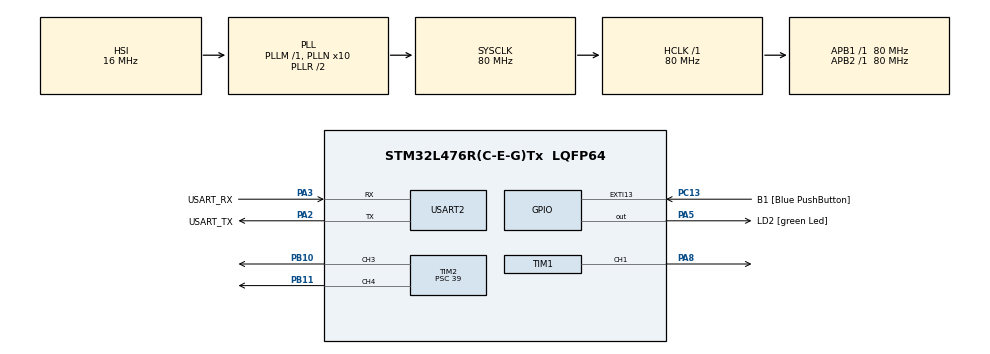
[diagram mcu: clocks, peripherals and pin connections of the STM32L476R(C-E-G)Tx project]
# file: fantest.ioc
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Mcu.Family=STM32L4
Mcu.Name=STM32L476R(C-E-G)Tx
Mcu.Package=LQFP64
NVIC.PriorityGroup=NVIC_PRIORITYGROUP_4
PA13\ (JTMS-SWDIO).GPIO_Label=TMS
PA13\ (JTMS-SWDIO).Mode=Serial_Wire
PA13\ (JTMS-SWDIO).Signal=SYS_JTMS-SWDIO
PA14\ (JTCK-SWCLK).GPIO_Label=TCK
PA14\ (JTCK-SWCLK).Mode=Serial_Wire
PA14\ (JTCK-SWCLK).Signal=SYS_JTCK-SWCLK
PA2.GPIO_Label=USART_TX
PA2.GPIO_Mode=GPIO_MODE_AF_PP
PA2.GPIO_PuPd=GPIO_NOPULL
PA2.GPIO_Speed=GPIO_SPEED_FREQ_VERY_HIGH
PA2.Mode=Asynchronous
PA2.Signal=USART2_TX
PA3.GPIO_Label=USART_RX
PA3.GPIO_Mode=GPIO_MODE_AF_PP
PA3.GPIO_PuPd=GPIO_NOPULL
PA3.GPIO_Speed=GPIO_SPEED_FREQ_VERY_HIGH
PA3.Mode=Asynchronous
PA3.Signal=USART2_RX
PA5.GPIO_Label=LD2 [green Led]
PA5.GPIO_ModeDefaultOutputPP=GPIO_MODE_OUTPUT_PP
PA5.GPIO_PuPd=GPIO_NOPULL
PA5.GPIO_Speed=GPIO_SPEED_FREQ_LOW
PA5.Signal=GPIO_Output
PA8.Signal=S_TIM1_CH1
PB10.Signal=S_TIM2_CH3
PB11.Signal=S_TIM2_CH4
PB3\ (JTDO-TRACESWO).GPIO_Label=SWO
PB3\ (JTDO-TRACESWO).Signal=SYS_JTDO-SWO
PC13.GPIO_Label=B1 [Blue PushButton]
PC13.GPIO_ModeDefaultEXTI=GPIO_MODE_IT_FALLING
PC13.GPIO_PuPd=GPIO_NOPULL
PC13.Signal=GPXTI13
PC14-OSC32_IN\ (PC14).Mode=LSE-External-Oscillator
PC14-OSC32_IN\ (PC14).Signal=RCC_OSC32_IN
PC15-OSC32_OUT\ (PC15).Mode=LSE-External-Oscillator
PC15-OSC32_OUT\ (PC15).Signal=RCC_OSC32_OUT
PH0-OSC_IN\ (PH0).Signal=RCC_OSC_IN
PH1-OSC_OUT\ (PH1).Signal=RCC_OSC_OUT
ProjectManager.HeapSize=0x200
ProjectManager.StackSize=0x400
ProjectManager.TargetToolchain=STM32CubeIDE
RCC.ADCFreq_Value=64000000
RCC.AHBFreq_Value=80000000
RCC.APB1Freq_Value=80000000
RCC.APB1TimFreq_Value=80000000
RCC.APB2Freq_Value=80000000
RCC.APB2TimFreq_Value=80000000
RCC.CortexFreq_Value=80000000
RCC.HCLKFreq_Value=80000000
RCC.HSE_VALUE=8000000
RCC.HSI_VALUE=16000000
RCC.MSI_VALUE=4000000
RCC.PLLN=10
RCC.PLLSourceVirtual=RCC_PLLSOURCE_HSI
RCC.PREFETCH_ENABLE=1
RCC.SYSCLKFreq_VALUE=80000000
RCC.SYSCLKSource=RCC_SYSCLKSOURCE_PLLCLK
RCC.USBFreq_Value=64000000
RCC.VCOOutputFreq_Value=160000000
SH.S_TIM1_CH1.0=TIM1_CH1,PWM Generation1 CH1
SH.S_TIM2_CH3.0=TIM2_CH3,PWM Generation3 CH3
SH.S_TIM2_CH4.0=TIM2_CH4,PWM Generation4 CH4
TIM1.Channel-PWM\ Generation1\ CH1=TIM_CHANNEL_1
TIM1.Period=100
TIM1.Prescaler=39
TIM2.Channel-PWM\ Generation3\ CH3=TIM_CHANNEL_3
TIM2.Channel-PWM\ Generation4\ CH4=TIM_CHANNEL_4
TIM2.Period=100
TIM2.Prescaler=39
USART2.VirtualMode-Asynchronous=VM_ASYNC
VP_TIM1_VS_ClockSourceINT.Mode=Internal
board=NUCLEO-L476RG

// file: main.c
/* USER CODE BEGIN Header */
/**
  ******************************************************************************
  * @file           : main.c
  * @brief          : Main program body
  ******************************************************************************
  * @attention
  *
  * Copyright (c) 2026 STMicroelectronics.
  * All rights reserved.
  *
  * This software is licensed under terms that can be found in the LICENSE file
  * in the root directory of this software component.
  * If no LICENSE file comes with this software, it is provided AS-IS.
  *
  ******************************************************************************
  */
/* USER CODE END Header */
#include "main.h"

TIM_HandleTypeDef htim1;
TIM_HandleTypeDef htim2;

UART_HandleTypeDef huart2;

void SystemClock_Config(void);
static void MX_GPIO_Init(void);
static void MX_USART2_UART_Init(void);
static void MX_TIM1_Init(void);
static void MX_TIM2_Init(void);

int main(void)
{

  /* MCU Configuration--------------------------------------------------------*/

  /* Reset of all peripherals, Initializes the Flash interface and the Systick. */
  HAL_Init();

  /* Configure the system clock */
  SystemClock_Config();

  /* Initialize all configured peripherals */
  MX_GPIO_Init();
  MX_USART2_UART_Init();
  MX_TIM1_Init();
  MX_TIM2_Init();
  /* USER CODE BEGIN 2 */

  int started = 0;
  HAL_TIM_PWM_Start(&htim2, TIM_CHANNEL_3);
  __HAL_TIM_SET_COMPARE(&htim2, TIM_CHANNEL_3, 50);  // TIM1->CCR1 = duty;

  HAL_TIM_PWM_Start(&htim2, TIM_CHANNEL_4);
  __HAL_TIM_SET_COMPARE(&htim2, TIM_CHANNEL_4, 30);  // TIM1->CCR1 = duty;

  HAL_Delay(500);
  __HAL_TIM_SET_COMPARE(&htim2, TIM_CHANNEL_4, 0);  // TIM1->CCR1 = duty;
/* USER CODE END 2 */

  /* Infinite loop */
  while (1)
  {

    /* USER CODE BEGIN 3 */
	  HAL_Delay(10000);

    if (started == 0) {
        __HAL_TIM_SET_COMPARE(&htim2, TIM_CHANNEL_3, 30);  // TIM1->CCR1 = duty;
        started = 1;
    }
    else if (started == 1) {
        __HAL_TIM_SET_COMPARE(&htim2, TIM_CHANNEL_3, 10);  // TIM1->CCR1 = duty;
        started = 2;
    } else if (started == 2) {
        __HAL_TIM_SET_COMPARE(&htim2, TIM_CHANNEL_3, 5);  // TIM1->CCR1 = duty;
        started = 3;
    }
    else if (started == 3) {
        __HAL_TIM_SET_COMPARE(&htim2, TIM_CHANNEL_3, 0);  // TIM1->CCR1 = duty;
        started = 4;
    }
    else if (started == 4) {
        __HAL_TIM_SET_COMPARE(&htim2, TIM_CHANNEL_4, 30);  // TIM1->CCR1 = duty;
        started = 5;
    } else if (started == 5) {
        __HAL_TIM_SET_COMPARE(&htim2, TIM_CHANNEL_4, 10);  // TIM1->CCR1 = duty;
        started = 6;
    }
    else if (started == 6) {
        __HAL_TIM_SET_COMPARE(&htim2, TIM_CHANNEL_4, 0);  // TIM1->CCR1 = duty;
        started = 7;
    }

  }
  /* USER CODE END 3 */
}

void SystemClock_Config(void)
{
  RCC_OscInitTypeDef RCC_OscInitStruct = {0};
  RCC_ClkInitTypeDef RCC_ClkInitStruct = {0};

  /** Configure the main internal regulator output voltage
  */
  if (HAL_PWREx_ControlVoltageScaling(PWR_REGULATOR_VOLTAGE_SCALE1) != HAL_OK)
  {
    Error_Handler();
  }

  /** Initializes the RCC Oscillators according to the specified parameters
  * in the RCC_OscInitTypeDef structure.
  */
  RCC_OscInitStruct.OscillatorType = RCC_OSCILLATORTYPE_HSI;
  RCC_OscInitStruct.HSIState = RCC_HSI_ON;
  RCC_OscInitStruct.HSICalibrationValue = RCC_HSICALIBRATION_DEFAULT;
  RCC_OscInitStruct.PLL.PLLState = RCC_PLL_ON;
  RCC_OscInitStruct.PLL.PLLSource = RCC_PLLSOURCE_HSI;
  RCC_OscInitStruct.PLL.PLLM = 1;
  RCC_OscInitStruct.PLL.PLLN = 10;
  RCC_OscInitStruct.PLL.PLLP = RCC_PLLP_DIV7;
  RCC_OscInitStruct.PLL.PLLQ = RCC_PLLQ_DIV2;
  RCC_OscInitStruct.PLL.PLLR = RCC_PLLR_DIV2;
  if (HAL_RCC_OscConfig(&RCC_OscInitStruct) != HAL_OK)
  {
    Error_Handler();
  }

  /** Initializes the CPU, AHB and APB buses clocks
  */
  RCC_ClkInitStruct.ClockType = RCC_CLOCKTYPE_HCLK|RCC_CLOCKTYPE_SYSCLK
                              |RCC_CLOCKTYPE_PCLK1|RCC_CLOCKTYPE_PCLK2;
  RCC_ClkInitStruct.SYSCLKSource = RCC_SYSCLKSOURCE_PLLCLK;
  RCC_ClkInitStruct.AHBCLKDivider = RCC_SYSCLK_DIV1;
  RCC_ClkInitStruct.APB1CLKDivider = RCC_HCLK_DIV1;
  RCC_ClkInitStruct.APB2CLKDivider = RCC_HCLK_DIV1;

  if (HAL_RCC_ClockConfig(&RCC_ClkInitStruct, FLASH_LATENCY_4) != HAL_OK)
  {
    Error_Handler();
  }
}

static void MX_TIM1_Init(void)
{

  TIM_ClockConfigTypeDef sClockSourceConfig = {0};
  TIM_MasterConfigTypeDef sMasterConfig = {0};
  TIM_OC_InitTypeDef sConfigOC = {0};
  TIM_BreakDeadTimeConfigTypeDef sBreakDeadTimeConfig = {0};

  htim1.Instance = TIM1;
  htim1.Init.Prescaler = 39;
  htim1.Init.CounterMode = TIM_COUNTERMODE_UP;
  htim1.Init.Period = 100;
  htim1.Init.ClockDivision = TIM_CLOCKDIVISION_DIV1;
  htim1.Init.RepetitionCounter = 0;
  htim1.Init.AutoReloadPreload = TIM_AUTORELOAD_PRELOAD_DISABLE;
  if (HAL_TIM_Base_Init(&htim1) != HAL_OK)
  {
    Error_Handler();
  }
  sClockSourceConfig.ClockSource = TIM_CLOCKSOURCE_INTERNAL;
  if (HAL_TIM_ConfigClockSource(&htim1, &sClockSourceConfig) != HAL_OK)
  {
    Error_Handler();
  }
  if (HAL_TIM_PWM_Init(&htim1) != HAL_OK)
  {
    Error_Handler();
  }
  sMasterConfig.MasterOutputTrigger = TIM_TRGO_RESET;
  sMasterConfig.MasterOutputTrigger2 = TIM_TRGO2_RESET;
  sMasterConfig.MasterSlaveMode = TIM_MASTERSLAVEMODE_DISABLE;
  if (HAL_TIMEx_MasterConfigSynchronization(&htim1, &sMasterConfig) != HAL_OK)
  {
    Error_Handler();
  }
  sConfigOC.OCMode = TIM_OCMODE_PWM1;
  sConfigOC.Pulse = 0;
  sConfigOC.OCPolarity = TIM_OCPOLARITY_HIGH;
  sConfigOC.OCNPolarity = TIM_OCNPOLARITY_HIGH;
  sConfigOC.OCFastMode = TIM_OCFAST_DISABLE;
  sConfigOC.OCIdleState = TIM_OCIDLESTATE_RESET;
  sConfigOC.OCNIdleState = TIM_OCNIDLESTATE_RESET;
  if (HAL_TIM_PWM_ConfigChannel(&htim1, &sConfigOC, TIM_CHANNEL_1) != HAL_OK)
  {
    Error_Handler();
  }
  sBreakDeadTimeConfig.OffStateRunMode = TIM_OSSR_DISABLE;
  sBreakDeadTimeConfig.OffStateIDLEMode = TIM_OSSI_DISABLE;
  sBreakDeadTimeConfig.LockLevel = TIM_LOCKLEVEL_OFF;
  sBreakDeadTimeConfig.DeadTime = 0;
  sBreakDeadTimeConfig.BreakState = TIM_BREAK_DISABLE;
  sBreakDeadTimeConfig.BreakPolarity = TIM_BREAKPOLARITY_HIGH;
  sBreakDeadTimeConfig.BreakFilter = 0;
  sBreakDeadTimeConfig.Break2State = TIM_BREAK2_DISABLE;
  sBreakDeadTimeConfig.Break2Polarity = TIM_BREAK2POLARITY_HIGH;
  sBreakDeadTimeConfig.Break2Filter = 0;
  sBreakDeadTimeConfig.AutomaticOutput = TIM_AUTOMATICOUTPUT_DISABLE;
  if (HAL_TIMEx_ConfigBreakDeadTime(&htim1, &sBreakDeadTimeConfig) != HAL_OK)
  {
    Error_Handler();
  }
  HAL_TIM_MspPostInit(&htim1);

}

static void MX_TIM2_Init(void)
{

  TIM_MasterConfigTypeDef sMasterConfig = {0};
  TIM_OC_InitTypeDef sConfigOC = {0};

  htim2.Instance = TIM2;
  htim2.Init.Prescaler = 39;
  htim2.Init.CounterMode = TIM_COUNTERMODE_UP;
  htim2.Init.Period = 100;
  htim2.Init.ClockDivision = TIM_CLOCKDIVISION_DIV1;
  htim2.Init.AutoReloadPreload = TIM_AUTORELOAD_PRELOAD_DISABLE;
  if (HAL_TIM_PWM_Init(&htim2) != HAL_OK)
  {
    Error_Handler();
  }
  sMasterConfig.MasterOutputTrigger = TIM_TRGO_RESET;
  sMasterConfig.MasterSlaveMode = TIM_MASTERSLAVEMODE_DISABLE;
  if (HAL_TIMEx_MasterConfigSynchronization(&htim2, &sMasterConfig) != HAL_OK)
  {
    Error_Handler();
  }
  sConfigOC.OCMode = TIM_OCMODE_PWM1;
  sConfigOC.Pulse = 0;
  sConfigOC.OCPolarity = TIM_OCPOLARITY_HIGH;
  sConfigOC.OCFastMode = TIM_OCFAST_DISABLE;
  if (HAL_TIM_PWM_ConfigChannel(&htim2, &sConfigOC, TIM_CHANNEL_3) != HAL_OK)
  {
    Error_Handler();
  }
  if (HAL_TIM_PWM_ConfigChannel(&htim2, &sConfigOC, TIM_CHANNEL_4) != HAL_OK)
  {
    Error_Handler();
  }
  HAL_TIM_MspPostInit(&htim2);

}

static void MX_USART2_UART_Init(void)
{

  huart2.Instance = USART2;
  huart2.Init.BaudRate = 115200;
  huart2.Init.WordLength = UART_WORDLENGTH_8B;
  huart2.Init.StopBits = UART_STOPBITS_1;
  huart2.Init.Parity = UART_PARITY_NONE;
  huart2.Init.Mode = UART_MODE_TX_RX;
  huart2.Init.HwFlowCtl = UART_HWCONTROL_NONE;
  huart2.Init.OverSampling = UART_OVERSAMPLING_16;
  huart2.Init.OneBitSampling = UART_ONE_BIT_SAMPLE_DISABLE;
  huart2.AdvancedInit.AdvFeatureInit = UART_ADVFEATURE_NO_INIT;
  if (HAL_UART_Init(&huart2) != HAL_OK)
  {
    Error_Handler();
  }

}

static void MX_GPIO_Init(void)
{
  GPIO_InitTypeDef GPIO_InitStruct = {0};

  /* GPIO Ports Clock Enable */
  __HAL_RCC_GPIOC_CLK_ENABLE();
  __HAL_RCC_GPIOH_CLK_ENABLE();
  __HAL_RCC_GPIOA_CLK_ENABLE();
  __HAL_RCC_GPIOB_CLK_ENABLE();

  /*Configure GPIO pin Output Level */
  HAL_GPIO_WritePin(LD2_GPIO_Port, LD2_Pin, GPIO_PIN_RESET);

  /*Configure GPIO pin : B1_Pin */
  GPIO_InitStruct.Pin = B1_Pin;
  GPIO_InitStruct.Mode = GPIO_MODE_IT_FALLING;
  GPIO_InitStruct.Pull = GPIO_NOPULL;
  HAL_GPIO_Init(B1_GPIO_Port, &GPIO_InitStruct);

  /*Configure GPIO pin : LD2_Pin */
  GPIO_InitStruct.Pin = LD2_Pin;
  GPIO_InitStruct.Mode = GPIO_MODE_OUTPUT_PP;
  GPIO_InitStruct.Pull = GPIO_NOPULL;
  GPIO_InitStruct.Speed = GPIO_SPEED_FREQ_LOW;
  HAL_GPIO_Init(LD2_GPIO_Port, &GPIO_InitStruct);

}

void Error_Handler(void)
{
  __disable_irq();
  while (1)
  {
  }
}
